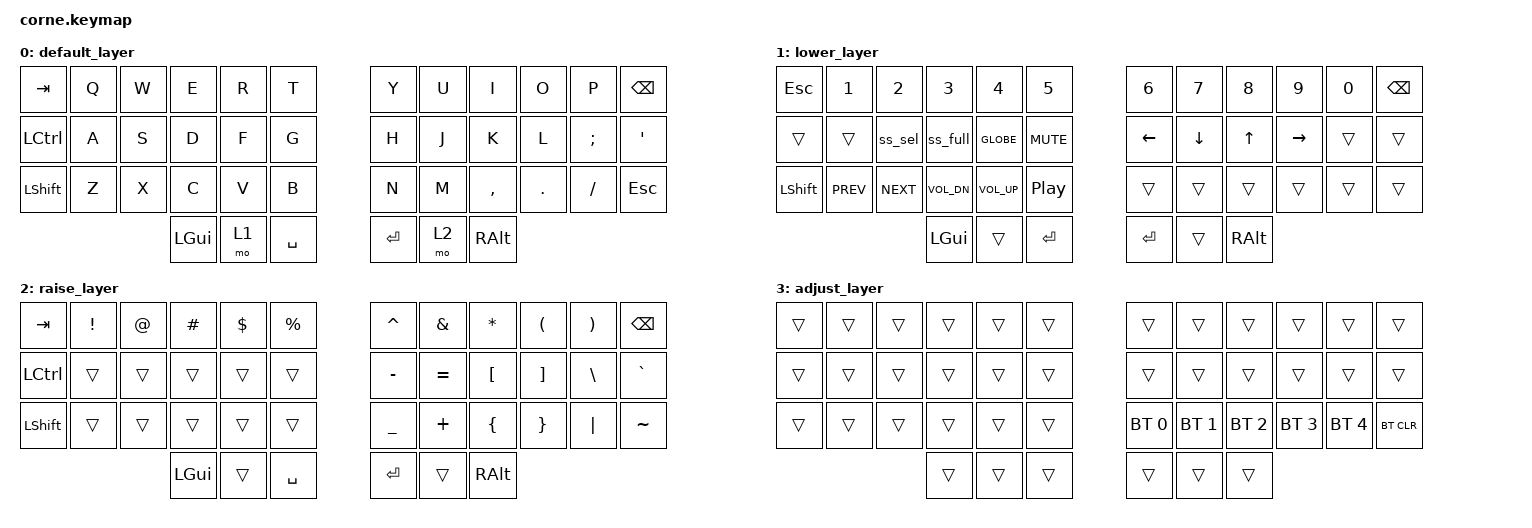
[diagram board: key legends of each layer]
/*
 * Copyright (c) 2020 The ZMK Contributors
 * SPDX-License-Identifier: MIT
 */

#include <behaviors.dtsi>
#include <dt-bindings/zmk/keys.h>
#include <dt-bindings/zmk/bt.h>

/ {
        macros {
                hyper: hyper {
                        compatible = "zmk,behavior-macro";
                        #binding-cells = <0>;
                        bindings = <&macro_press &kp LCTRL &kp LALT &kp LGUI>
                                 , <&macro_pause_for_release>
                                 , <&macro_release &kp LCTRL &kp LALT &kp LGUI>;
                };
                ss_full: ss_full {
                        compatible = "zmk,behavior-macro";
                        #binding-cells = <0>;
                        bindings = <&macro_press &kp LSHFT &kp LCTRL &kp LGUI>
                                 , <&macro_tap &kp N3>
                                 , <&macro_release &kp LSHFT &kp LCTRL &kp LGUI>;
                };
                ss_sel: ss_sel {
                        compatible = "zmk,behavior-macro";
                        #binding-cells = <0>;
                        bindings = <&macro_press &kp LSHFT &kp LCTRL &kp LGUI>
                                 , <&macro_tap &kp N4>
                                 , <&macro_release &kp LSHFT &kp LCTRL &kp LGUI>;
                };
        };

        combos {
                compatible = "zmk,combos";
                combo_hyper {
                        timeout-ms = <200>;
                        key-positions = <12 37>;
                        bindings = <&hyper>;
                        layers = <0>;
                };
        };

        conditional_layers {
                compatible = "zmk,conditional-layers";
                tri_layer {
                        if-layers = <1 2>;
                        then-layer = <3>;
                };
        };

        keymap {
                compatible = "zmk,keymap";

                default_layer {
                        bindings = <
   &kp TAB   &kp Q &kp W &kp E &kp R &kp T   &kp Y &kp U  &kp I     &kp O   &kp P    &kp BSPC
   &kp LCTRL &kp A &kp S &kp D &kp F &kp G   &kp H &kp J  &kp K     &kp L   &kp SEMI &kp SQT
   &kp LSHFT &kp Z &kp X &kp C &kp V &kp B   &kp N &kp M  &kp COMMA &kp DOT &kp FSLH &kp ESC
                  &kp LGUI &mo 1 &kp SPACE   &kp RET &mo 2 &kp RALT
                        >;
                };

                lower_layer {
                        bindings = <
   &kp ESC    &kp N1     &kp N2     &kp N3       &kp N4       &kp N5             &kp N6   &kp N7   &kp N8 &kp N9    &kp N0 &kp BSPC
   &trans     &trans     &ss_sel    &ss_full     &kp GLOBE    &kp C_MUTE         &kp LEFT &kp DOWN &kp UP &kp RIGHT &trans &trans
   &kp LSHFT  &kp C_PREV &kp C_NEXT &kp C_VOL_DN &kp C_VOL_UP &kp C_PLAY_PAUSE   &trans   &trans   &trans &trans    &trans &trans
                                    &kp LGUI     &trans       &kp RET            &kp RET  &trans   &kp RALT
                        >;
                };

                raise_layer {
                        bindings = <
   &kp TAB   &kp EXCL &kp AT &kp HASH &kp DLLR &kp PRCNT   &kp CARET &kp AMPS  &kp ASTRK &kp LPAR &kp RPAR &kp BSPC
   &kp LCTRL &trans   &trans &trans   &trans   &trans      &kp MINUS &kp EQUAL &kp LBKT  &kp RBKT &kp BSLH &kp GRAVE
   &kp LSHFT &trans   &trans &trans   &trans   &trans      &kp UNDER &kp PLUS  &kp LBRC  &kp RBRC &kp PIPE &kp TILDE
                             &kp LGUI &trans   &kp SPACE   &kp RET   &trans    &kp RALT
                        >;
                };

                adjust_layer {
                        bindings = <
   &trans &trans &trans &trans &trans &trans   &trans     &trans       &trans       &trans       &trans       &trans
   &trans &trans &trans &trans &trans &trans   &trans     &trans       &trans       &trans       &trans       &trans
   &trans &trans &trans &trans &trans &trans   &bt BT_SEL 0 &bt BT_SEL 1 &bt BT_SEL 2 &bt BT_SEL 3 &bt BT_SEL 4 &bt BT_CLR
                        &trans &trans &trans   &trans     &trans       &trans
                        >;
                };
        };
};
